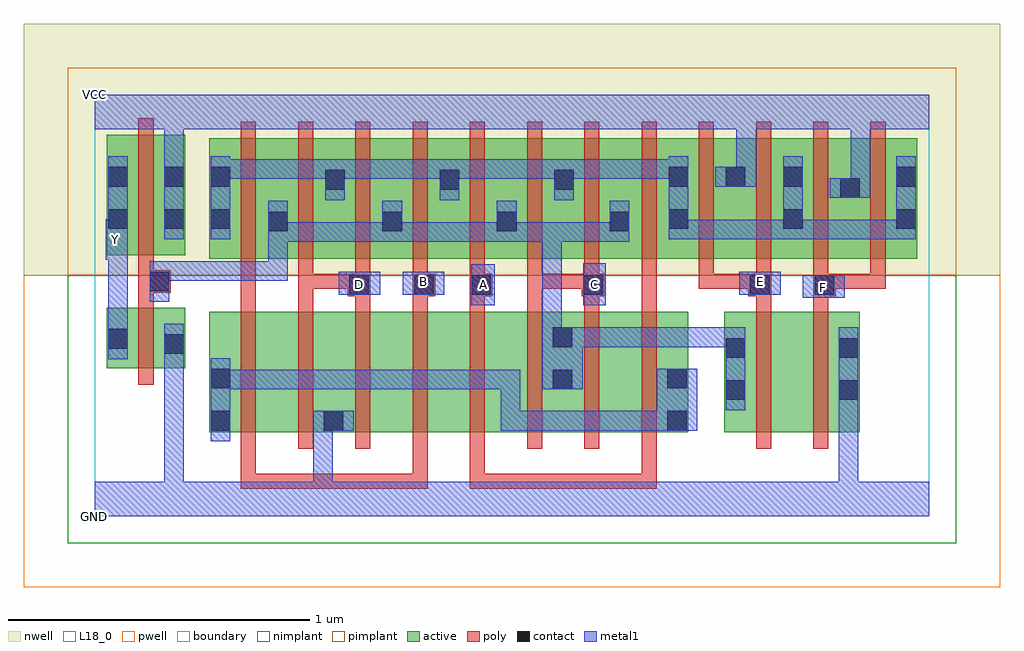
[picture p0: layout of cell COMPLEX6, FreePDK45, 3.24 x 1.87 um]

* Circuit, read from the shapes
.subckt COMPLEX6 A B C D E F GND VCC Y
M1 GND n1 Y VSUBS nfet w=0.2u l=0.05u
M2 n2 B n3 VSUBS nfet w=0.4u l=0.05u
M3 GND D n2 VSUBS nfet w=0.4u l=0.05u
M4 n4 D GND VSUBS nfet w=0.4u l=0.05u
M5 n5 B n4 VSUBS nfet w=0.4u l=0.05u
M6 n6 A n5 VSUBS nfet w=0.4u l=0.05u
M7 n1 C n6 VSUBS nfet w=0.4u l=0.05u
M8 n7 C n1 VSUBS nfet w=0.4u l=0.05u
M9 n3 A n7 VSUBS nfet w=0.4u l=0.05u
M10 n8 E n1 VSUBS nfet w=0.4u l=0.05u
M11 GND F n8 VSUBS nfet w=0.4u l=0.05u
M12 VCC n1 Y n9 pfet w=0.4u l=0.05u
M13 n1 B n10 n9 pfet w=0.4u l=0.05u m=2
M14 n10 D n1 n9 pfet w=0.4u l=0.05u m=2
M15 n1 A n10 n9 pfet w=0.4u l=0.05u m=2
M16 n10 C n1 n9 pfet w=0.4u l=0.05u m=2
M17 VCC E n10 n9 pfet w=0.4u l=0.05u m=2
M18 VCC F n10 n9 pfet w=0.4u l=0.05u m=2
.ends

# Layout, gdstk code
import gdstk
lib = gdstk.Library(unit=1e-6, precision=1e-09)
def R(c, l, rs):  # rectangles x0, y0, x1, y1
    for r in rs: c.add(gdstk.rectangle(r[:2], r[2:], *l))
def A(c, l, x, y, w, h, nx, ny, dx, dy):  # array of equal rectangles
    R(c, l, [(x+i*dx, y+j*dy, x+i*dx+w, y+j*dy+h) for i in range(nx) for j in range(ny)])
active = (1, 0)
pwell = (2, 0)
nwell = (3, 0)
nimplant = (4, 0)
pimplant = (5, 0)
poly = (9, 0)
contact = (10, 0)
metal1 = (11, 0)
L18_0 = (18, 0)
boundary = (235, 0)

complex6 = lib.new_cell('COMPLEX6')
A(complex6, active, 0.38, 0.855, 0.265, 0.4, 6, 1, 0.19, 0)
A(complex6, active, 0.57, 0.855, 0.075, 0.215, 3, 1, 0.38, 0)
A(complex6, active, 1.9, 0.855, 0.265, 0.4, 3, 1, 0.19, 0)
A(complex6, active, 0.76, 0.907, 0.075, 0.293, 4, 1, 0.38, 0)
R(complex6, active, [(0.38,0.28,0.605,0.68), (0.38,0.28,0.455,0.68), (0.605,0.28,0.83,0.68), (0.755,0.28,0.985,0.68), (0.755,0.28,0.83,0.617), (0.985,0.28,1.175,0.68), (1.175,0.28,1.365,0.68), (1.365,0.28,1.59,0.68), (1.515,0.28,1.745,0.68), (1.745,0.28,1.97,0.68), (1.895,0.28,1.97,0.68), (2.09,0.28,2.315,0.68), (2.315,0.28,2.54,0.68), (1.515,0.332,1.59,0.632), (2.09,0.332,2.165,0.68), (2.465,0.332,2.54,0.68), (0.04,0.492,0.115,0.692), (0.04,0.492,0.3,0.692), (0.225,0.492,0.3,0.692), (0.38,0.855,0.455,1.2), (1.52,0.855,1.78,1.255), (1.705,0.855,1.975,1.255), (2.28,0.855,2.355,1.2), (2.47,0.855,2.73,1.255), (2.655,0.855,2.73,1.2), (0.04,0.867,0.3,1.267), (0.04,0.867,0.115,1.2), (0.225,0.867,0.3,1.255), (1.705,0.907,1.78,1.07), (2.09,0.907,2.165,1.255), (2.47,0.907,2.545,1.255)])
R(complex6, pwell, [(-0.235,-0.235,3.005,0.8)])
R(complex6, nwell, [(-0.235,0.8,3.005,1.635)])
R(complex6, nimplant, [(-0.09,-0.09,2.86,0.8)])
R(complex6, pimplant, [(-0.09,0.8,2.86,1.49)])
A(complex6, poly, 0.485, 0.225, 0.05, 0.51, 8, 1, 0.19, 0)
A(complex6, poly, 0.865, 0.685, 0.05, 0.095, 3, 1, 0.19, 0)
A(complex6, poly, 0.485, 0.755, 0.05, 0.095, 12, 1, 0.19, 0)
A(complex6, poly, 0.485, 0.8, 0.05, 0.51, 12, 1, 0.19, 0)
R(complex6, poly, [(0.485,0.092,0.535,0.142), (0.485,0.092,0.535,0.142), (0.485,0.092,0.535,0.142), (0.485,0.092,0.535,0.275), (0.485,0.092,0.757,0.142), (0.707,0.092,0.757,0.142), (0.707,0.092,0.757,0.142), (0.707,0.092,0.757,0.142), (0.707,0.092,0.972,0.142), (0.922,0.092,0.972,0.142), (0.922,0.092,0.972,0.142), (0.922,0.092,0.972,0.142), (0.922,0.092,1.105,0.142), (1.055,0.092,1.105,0.142), (1.055,0.092,1.105,0.275), (1.245,0.092,1.295,0.142), (1.245,0.092,1.295,0.275), (1.245,0.092,1.535,0.142), (1.485,0.092,1.535,0.142), (1.485,0.092,1.535,0.142), (1.485,0.092,1.535,0.142), (1.485,0.092,1.732,0.142), (1.682,0.092,1.732,0.142), (1.682,0.092,1.732,0.142), (1.682,0.092,1.732,0.142), (1.682,0.092,1.865,0.142), (1.815,0.092,1.865,0.142), (1.815,0.092,1.865,0.142), (1.815,0.092,1.865,0.142), (1.815,0.092,1.865,0.275), (2.195,0.225,2.245,0.735), (2.385,0.225,2.435,0.735), (0.145,0.437,0.195,0.792), (0.485,0.685,0.535,0.805), (0.675,0.685,0.725,0.805), (1.435,0.685,1.485,0.805), (1.625,0.685,1.675,0.78), (1.815,0.685,1.865,0.805), (2.195,0.685,2.245,0.78), (2.385,0.685,2.435,0.78), (0.84,0.73,0.915,0.805), (1.055,0.73,1.13,0.805), (1.245,0.73,1.32,0.805), (1.617,0.73,1.692,0.805), (2.17,0.73,2.245,0.805), (2.385,0.73,2.46,0.805), (0.145,0.742,0.195,0.792), (0.145,0.742,0.252,0.817), (0.485,0.755,0.535,0.805), (0.675,0.755,0.725,0.805), (0.675,0.755,0.725,0.805), (0.675,0.755,0.725,0.805), (0.675,0.755,0.89,0.805), (1.435,0.755,1.485,0.805), (1.435,0.755,1.667,0.805), (1.617,0.755,1.667,0.805), (1.617,0.755,1.667,0.805), (1.815,0.755,1.865,0.805), (2.005,0.755,2.055,0.805), (2.005,0.755,2.22,0.805), (2.17,0.755,2.22,0.805), (2.17,0.755,2.22,0.805), (2.41,0.755,2.625,0.805), (2.575,0.755,2.625,0.805), (2.575,0.755,2.625,0.805), (2.575,0.755,2.625,0.805), (0.145,0.767,0.195,0.862), (0.145,0.812,0.195,1.322)])
A(complex6, contact, 0.575, 0.947, 0.065, 0.065, 3, 1, 0.38, 0)
A(complex6, contact, 0.765, 1.085, 0.065, 0.065, 3, 1, 0.38, 0)
A(complex6, contact, 1.905, 1.095, 0.065, 0.065, 3, 1, 0.19, 0)
R(complex6, contact, [(0.385,0.285,0.45,0.35), (0.76,0.285,0.825,0.35), (1.9,0.285,1.965,0.35), (2.095,0.387,2.16,0.452), (2.47,0.387,2.535,0.452), (1.52,0.422,1.585,0.487), (0.385,0.425,0.45,0.49), (1.9,0.425,1.965,0.49), (2.095,0.527,2.16,0.592), (2.47,0.527,2.535,0.592), (0.23,0.54,0.295,0.605), (0.045,0.557,0.11,0.622), (1.52,0.562,1.585,0.627), (0.845,0.735,0.91,0.8), (1.06,0.735,1.125,0.8), (1.25,0.735,1.315,0.8), (1.622,0.735,1.687,0.8), (2.175,0.735,2.24,0.8), (2.39,0.735,2.455,0.8), (0.182,0.747,0.247,0.812), (1.71,0.947,1.775,1.012), (0.045,0.955,0.11,1.02), (0.23,0.955,0.295,1.02), (0.385,0.955,0.45,1.02), (1.905,0.955,1.97,1.02), (2.285,0.955,2.35,1.02), (2.66,0.955,2.725,1.02), (2.475,1.057,2.54,1.122), (0.045,1.095,0.11,1.16), (0.23,1.095,0.295,1.16), (0.385,1.095,0.45,1.16), (2.66,1.095,2.725,1.16)])
A(complex6, metal1, 0.575, 0.912, 0.065, 0.135, 3, 1, 0.38, 0)
A(complex6, metal1, 0.765, 1.05, 0.065, 0.135, 3, 1, 0.38, 0)
R(complex6, metal1, [(0,0,2.77,0.115), (0.23,0.05,0.295,0.115), (0.23,0.05,0.295,0.115), (0.23,0.05,0.295,0.115), (0.23,0.05,0.295,0.115), (0.23,0.05,0.295,0.115), (0.23,0.05,0.295,0.115), (0.23,0.05,0.295,0.115), (0.23,0.05,0.295,0.115), (0.23,0.05,0.295,0.57), (0.725,0.05,0.79,0.115), (0.725,0.05,0.79,0.115), (0.725,0.05,0.79,0.115), (0.725,0.05,0.79,0.115), (0.725,0.05,0.79,0.35), (2.47,0.05,2.535,0.115), (2.47,0.05,2.535,0.115), (2.47,0.05,2.535,0.115), (2.47,0.05,2.535,0.115), (2.47,0.05,2.535,0.417), (0.385,0.25,0.45,0.525), (0.725,0.285,0.86,0.35), (1.347,0.285,1.412,0.35), (1.347,0.285,1.55,0.35), (1.347,0.285,1.412,0.487), (1.485,0.285,1.55,0.35), (1.485,0.285,1.55,0.35), (1.485,0.285,1.55,0.35), (1.485,0.285,1.792,0.35), (1.727,0.285,1.792,0.35), (1.727,0.285,1.792,0.35), (1.727,0.285,1.792,0.35), (1.727,0.285,1.93,0.35), (1.865,0.285,1.93,0.35), (1.865,0.285,1.93,0.35), (1.865,0.285,2,0.49), (2.095,0.352,2.16,0.627), (2.47,0.352,2.535,0.627), (0.385,0.422,0.45,0.487), (0.385,0.422,0.45,0.487), (0.385,0.422,0.64,0.487), (0.575,0.422,0.64,0.487), (0.575,0.422,0.64,0.487), (0.575,0.422,0.64,0.487), (0.575,0.422,0.882,0.487), (0.817,0.422,0.882,0.487), (0.817,0.422,0.882,0.487), (0.817,0.422,0.882,0.487), (0.817,0.422,1.072,0.487), (1.007,0.422,1.072,0.487), (1.007,0.422,1.072,0.487), (1.007,0.422,1.072,0.487), (1.007,0.422,1.262,0.487), (1.197,0.422,1.262,0.487), (1.197,0.422,1.412,0.487), (1.347,0.422,1.412,0.487), (1.347,0.422,1.412,0.487), (1.347,0.422,1.412,0.487), (1.485,0.422,1.62,0.627), (0.23,0.505,0.295,0.64), (0.045,0.522,0.11,0.657), (1.485,0.562,1.55,0.627), (1.485,0.562,1.55,0.627), (1.485,0.562,1.55,0.977), (1.555,0.562,1.757,0.627), (1.692,0.562,1.757,0.627), (1.692,0.562,1.757,0.627), (1.692,0.562,1.757,0.627), (1.692,0.562,1.93,0.627), (1.865,0.562,1.93,0.627), (1.865,0.562,1.987,0.627), (1.922,0.562,1.987,0.627), (1.922,0.562,2.067,0.627), (2.002,0.562,2.067,0.627), (2.002,0.562,2.16,0.627), (0.045,0.592,0.11,0.917), (1.25,0.7,1.327,0.837), (1.622,0.7,1.697,0.84), (0.182,0.712,0.247,0.847), (2.35,0.725,2.49,0.8), (0.81,0.735,0.947,0.812), (1.022,0.735,1.16,0.812), (2.14,0.735,2.277,0.812), (0.182,0.782,0.247,0.847), (0.182,0.782,0.247,0.847), (0.182,0.782,0.502,0.847), (0.437,0.782,0.502,0.847), (0.437,0.782,0.502,0.847), (0.437,0.782,0.502,0.847), (0.437,0.782,0.64,0.847), (0.575,0.782,0.64,0.847), (0.575,0.782,0.64,0.977), (0.037,0.852,0.11,0.987), (0.575,0.912,0.64,0.977), (0.575,0.912,0.64,0.977), (0.575,0.912,0.87,0.977), (0.805,0.912,0.87,0.977), (0.805,0.912,0.87,0.977), (0.805,0.912,0.87,0.977), (0.805,0.912,1.02,0.977), (0.955,0.912,1.02,0.977), (0.955,0.912,1.02,0.977), (0.955,0.912,1.262,0.977), (1.197,0.912,1.262,0.977), (1.197,0.912,1.4,0.977), (1.335,0.912,1.4,0.977), (1.335,0.912,1.4,0.977), (1.335,0.912,1.55,0.977), (1.485,0.912,1.55,0.977), (1.485,0.912,1.55,0.977), (1.485,0.912,1.55,0.977), (1.485,0.912,1.775,0.977), (1.71,0.912,1.775,0.977), (1.71,0.912,1.775,0.977), (1.71,0.912,1.775,1.047), (0.045,0.92,0.11,0.985), (0.045,0.92,0.11,1.195), (0.23,0.92,0.295,1.195), (0.385,0.92,0.45,1.195), (1.905,0.92,1.97,0.985), (1.905,0.92,1.97,0.985), (1.905,0.92,1.97,1.195), (1.905,0.92,2.067,0.985), (2.002,0.92,2.067,0.985), (2.002,0.92,2.212,0.985), (2.147,0.92,2.212,0.985), (2.147,0.92,2.212,0.985), (2.147,0.92,2.212,0.985), (2.147,0.92,2.35,0.985), (2.285,0.92,2.35,1.195), (2.285,0.92,2.587,0.985), (2.522,0.92,2.587,0.985), (2.522,0.92,2.587,0.985), (2.522,0.92,2.587,0.985), (2.522,0.92,2.725,0.985), (2.66,0.92,2.725,0.985), (2.66,0.92,2.725,0.985), (2.66,0.92,2.725,1.195), (2.44,1.057,2.575,1.122), (2.51,1.057,2.575,1.35), (2.06,1.095,2.195,1.16), (2.13,1.095,2.195,1.35), (0.385,1.12,0.45,1.185), (0.385,1.12,0.45,1.185), (0.385,1.12,0.652,1.185), (0.587,1.12,0.652,1.185), (0.587,1.12,0.732,1.185), (0.667,1.12,0.732,1.185), (0.667,1.12,0.83,1.185), (0.765,1.12,0.882,1.185), (0.817,1.12,0.882,1.185), (0.817,1.12,1.072,1.185), (1.007,1.12,1.072,1.185), (1.007,1.12,1.072,1.185), (1.007,1.12,1.072,1.185), (1.007,1.12,1.21,1.185), (1.145,1.12,1.21,1.185), (1.145,1.12,1.21,1.185), (1.145,1.12,1.4,1.185), (1.335,1.12,1.4,1.185), (1.335,1.12,1.55,1.185), (1.485,1.12,1.55,1.185), (1.485,1.12,1.59,1.185), (1.525,1.12,1.792,1.185), (1.727,1.12,1.792,1.185), (1.727,1.12,1.792,1.185), (1.727,1.12,1.792,1.185), (1.727,1.12,1.93,1.185), (1.865,1.12,1.93,1.185), (1.865,1.12,1.97,1.185), (0.23,1.13,0.295,1.35), (0,1.285,2.77,1.4)])
R(complex6, L18_0, [(0,0,2.77,0.115), (0.23,0.05,0.295,0.115), (0.23,0.05,0.295,0.115), (0.23,0.05,0.295,0.115), (0.23,0.05,0.295,0.115), (0.23,0.05,0.295,0.115), (0.23,0.05,0.295,0.115), (0.23,0.05,0.295,0.115), (0.23,0.05,0.295,0.115), (0.23,0.05,0.295,0.57), (0.725,0.05,0.79,0.115), (0.725,0.05,0.79,0.115), (0.725,0.05,0.79,0.115), (0.725,0.05,0.79,0.115), (0.725,0.05,0.79,0.35), (2.47,0.05,2.535,0.115), (2.47,0.05,2.535,0.115), (2.47,0.05,2.535,0.115), (2.47,0.05,2.535,0.115), (2.47,0.05,2.535,0.417), (0.725,0.285,0.86,0.35), (2.47,0.352,2.535,0.627), (0.23,0.505,0.295,0.64), (0.045,0.522,0.11,0.657), (0.045,0.592,0.11,0.917), (1.25,0.7,1.327,0.837), (1.622,0.7,1.697,0.84), (2.35,0.725,2.49,0.8), (2.387,0.727,2.452,0.792), (0.81,0.735,0.947,0.812), (1.022,0.735,1.16,0.812), (2.14,0.735,2.277,0.812), (0.847,0.737,0.912,0.802), (1.257,0.737,1.322,0.802), (1.627,0.737,1.692,0.802), (1.057,0.747,1.122,0.812), (2.177,0.747,2.242,0.812), (0.037,0.852,0.11,0.987), (0.037,0.887,0.102,0.952), (0.045,0.92,0.11,1.195), (0.045,0.92,0.11,0.985), (0.23,0.92,0.295,1.195), (2.44,1.057,2.575,1.122), (2.51,1.057,2.575,1.35), (2.06,1.095,2.195,1.16), (2.13,1.095,2.195,1.35), (0.23,1.13,0.295,1.35), (0,1.285,2.77,1.4)])
R(complex6, boundary, [(0,0,2.77,1.4)])
complex6.add(gdstk.Label('A', (1.29,0.77), layer=11, texttype=0))
complex6.add(gdstk.Label('B', (1.09,0.78), layer=11, texttype=0))
complex6.add(gdstk.Label('C', (1.66,0.77), layer=11, texttype=0))
complex6.add(gdstk.Label('D', (0.88,0.77), layer=11, texttype=0))
complex6.add(gdstk.Label('E', (2.21,0.78), layer=11, texttype=0))
complex6.add(gdstk.Label('F', (2.42,0.76), layer=11, texttype=0))
complex6.add(gdstk.Label('Y', (0.07,0.92), layer=11, texttype=0))
complex6.add(gdstk.Label('VCC', (0,1.4), layer=11, texttype=0))
complex6.add(gdstk.Label('GND', (0,0), layer=11, texttype=0))

lib.write_gds('COMPLEX6.gds')
